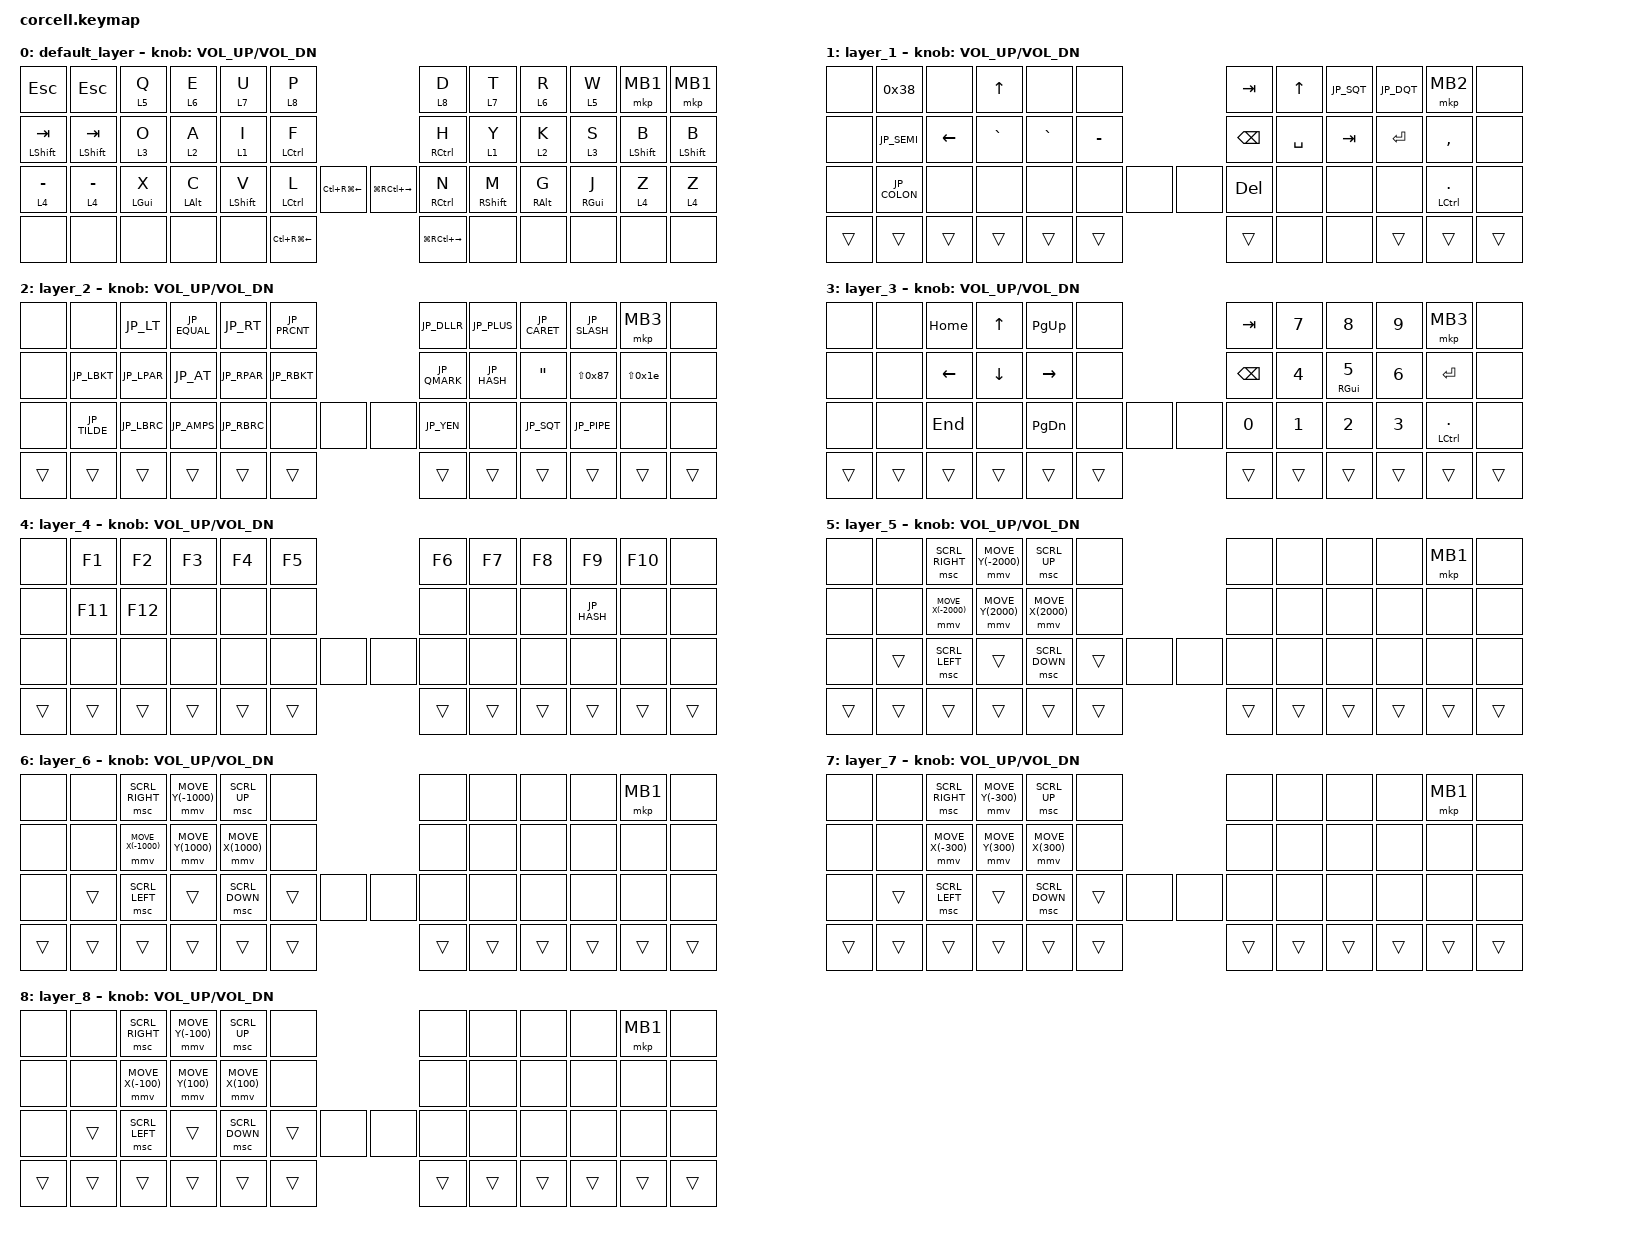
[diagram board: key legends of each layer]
#include "keycode_japanese.h"


#include <dt-bindings/zmk/mouse.h>
#include <behaviors.dtsi>
#include <dt-bindings/zmk/bt.h>
#include <dt-bindings/zmk/keys.h>
#include <dt-bindings/zmk/pointing.h>


#include <input/processors.dtsi>
#include <dt-bindings/zmk/input_transform.h>
#include <zephyr/dt-bindings/input/input-event-codes.h>

#define ZMK_POINTING_DEFAULT_SCRL_VAL 40




&msc {
    acceleration-exponent = <0>;      // 0
    time-to-max-speed-ms = <0>;       // 300
    delay-ms = <0>;                   // 0
};

&mmv {
    time-to-max-speed-ms = <0>;
    acceleration-exponent = <0>;
    trigger-period-ms = <10>;
    delay-ms = <0>;
};

&mt { 
    flavor = "balanced"; 
    tapping-term-ms = <200>;
    quick-tap-ms = <150>; 
};

&lt {
    flavor = "balanced";
    tapping-term-ms = <200>; 
    quick-tap-ms = <150>; 
};


// 00 01 02 03 04 05          06 07 08 09 10 11  
// 12 13 14 15 16 17          18 19 20 21 22 23
// 24 25 26 27 28 29  30 31   32 33 34 35 36 37
// 38 39 40 41 42 43          44 45 46 47 48 49



/ {


    combos {
        compatible = "zmk,combos";

      lang {
            bindings = <&kp GRAVE>;
            key-positions = <2 4>;
            layers = <0>;
            timeout-ms = <200>;
        };

 fopen {
            bindings = <&kp LG(N2)>;
            key-positions = <6 10>;
            layers = <0>;
            timeout-ms = <200>;
        };

       bootloader_R {
            bindings = <&bootloader>;
            key-positions = <6 11 44 49>;
            timeout-ms = <200>;
        };

       bootloader_L {
            bindings = <&bootloader>;
            key-positions = <0 5 38 43>;
            timeout-ms = <200>;
        };

        eq {
            bindings = <&bt BT_CLR_ALL>;
            key-positions = <0 12 24 38>;
            timeout-ms = <50>;
            layers = <0>;
        };

        bt0 {
            bindings = <&bt BT_SEL 0>;
            key-positions = <6 18 32 44>;
            timeout-ms = <50>;
            layers = <0>;
        };

        bt1 {
            bindings = <&bt BT_SEL 1>;
            key-positions = <7 19 33 45>;
            layers = <0>;
        };

        bt2 {
            bindings = <&bt BT_SEL 2>;
            key-positions = <8 20 34 46>;
            layers = <0>;
        };

        mute {
            bindings = <&kp C_MUTE>;
            key-positions = <16 17>;
            layers = <0>;
        };

        vup {
            bindings = <&kp C_VOL_UP>;
            key-positions = <4 5>;
            layers = <0>;
        };

        vdn {
            bindings = <&kp C_VOL_DN>;
            key-positions = <28 29>;
            layers = <0>;
        };

        printscreen {
            bindings = <&kp PSCRN>;
            key-positions = <26 28>;
            layers = <0>;
            timeout-ms = <250>;
        };


        space {
            bindings = <&kp SPACE>;
            key-positions = <13 16>;
            layers = <0>;
            timeout-ms = <250>;
        };


       };
  };




/ {
   keymap {
        compatible = "zmk,keymap";

        default_layer {
            bindings = <
  
&kp ESCAPE      &kp ESCAPE      &lt 5 Q    &lt 6 E    &lt 7 U       &lt 8 P                                                                    &lt 8 D        &lt 7 T       &lt 6 R     &lt 5 W     &mkp MB1          &mkp MB1

&mt LSHIFT TAB  &mt LSHIFT TAB  &lt 3 O    &lt 2 A    &lt 1 I       &mt LCTRL F                                                                &mt RCTRL H    &lt 1 Y       &lt 2 K     &lt 3 S     &mt LEFT_SHIFT B  &mt LEFT_SHIFT B

&lt 4 MINUS      &lt 4 MINUS    &mt LGUI X &mt LALT C &mt LSHIFT V  &mt LCTRL L             &kp LC(RG(LEFT))    &kp LG(RC(RIGHT))              &mt RCTRL N  &mt RSHIFT M  &mt RALT G  &mt RGUI J  &lt 4 Z        &lt 4 Z

&none          &none            &none      &none      &none         &kp LC(RG(LEFT))                                                           &kp LG(RC(RIGHT))  &none   &none       &none &none &none
>;
            sensor-bindings = <&inc_dec_kp C_VOL_UP C_VOL_DN>;
        };

        layer_1 {
            bindings = <

&none  &kp 0x38      &none      &kp UP     &none      &none                                                                                     &kp TAB        &kp UP      &kp JP_SQT  &kp JP_DQT  &mkp MB2        &none
&none  &kp JP_SEMI   &kp LEFT   &kp GRAVE  &kp GRAVE  &kp MINUS                                                                                 &kp BACKSPACE  &kp SPACE   &kp TAB     &kp ENTER   &kp COMMA       &none
&none  &kp JP_COLON  &none      &none      &none      &none                                   &none      &none                                  &kp DELETE     &none      &none       &none       &mt LCTRL PERIOD &none
&trans &trans        &trans     &trans     &trans     &trans                                                                                    &trans        &none        &none      &trans        &trans         &trans
            >;
            sensor-bindings = <&inc_dec_kp C_VOL_UP C_VOL_DN>;
        };

        layer_2 {
            bindings = <

&none   &none        &kp JP_LT      &kp JP_EQUAL   &kp JP_RT    &kp JP_PRCNT                                                                           &kp JP_DLLR   &kp JP_PLUS  &kp JP_CARET      &kp JP_SLASH  &mkp MB3     &none
&none   &kp JP_LBKT  &kp JP_LPAR    &kp JP_AT      &kp JP_RPAR  &kp JP_RBKT                                                                            &kp JP_QMARK  &kp JP_HASH  &kp DOUBLE_QUOTES &kp LS(0x87)  &kp LS(0x1e) &none
&none   &kp JP_TILDE &kp JP_LBRC    &kp JP_AMPS    &kp JP_RBRC  &none                        &none       &none                                         &kp JP_YEN    &none        &kp JP_SQT        &kp JP_PIPE   &none        &none
&trans  &trans       &trans         &trans         &trans      &trans                                                                                  &trans        &trans       &trans            &trans        &trans       &trans
            >;
            sensor-bindings = <&inc_dec_kp C_VOL_UP C_VOL_DN>;
        };

        layer_3 {
            bindings = <

&none    &none        &kp HOME   &kp UP     &kp PAGE_UP      &none                                                                                   &kp TAB        &kp N7          &kp N8        &kp N9         &mkp MB3         &none
&none    &none        &kp LEFT   &kp DOWN   &kp RIGHT        &none                                                                                   &kp BACKSPACE  &kp N4          &mt RGUI N5   &kp N6         &kp ENTER        &none
&none    &none        &kp END    &none      &kp PAGE_DOWN    &none                        &none          &none                                       &kp N0         &kp N1          &kp N2        &kp N3         &mt LCTRL PERIOD &none
&trans   &trans       &trans     &trans     &trans           &trans                                                                                  &trans         &trans          &trans        &trans         &trans           &trans
            >;
            sensor-bindings = <&inc_dec_kp C_VOL_UP C_VOL_DN>;
        };

        layer_4 {
            bindings = <

&none &kp F1   &kp F2    &kp F3  &kp F4  &kp F5                                                                                                     &kp F6  &kp F7  &kp F8  &kp F9       &kp F10    &none
&none &kp F11  &kp F12   &none   &none   &none                                                                                                      &none   &none   &none   &kp JP_HASH  &none      &none
&none &none    &none     &none   &none   &none                                           &none          &none                                       &none   &none   &none   &none        &none      &none
&trans &trans  &trans    &trans  &trans  &trans                                                                                                     &trans  &trans  &trans  &trans       &trans     &trans
            >;
            sensor-bindings = <&inc_dec_kp C_VOL_UP C_VOL_DN>;
        };



        layer_5 {
            bindings = <

&none  &none   &msc SCRL_RIGHT    &mmv MOVE_Y(-2000)  &msc SCRL_UP       &none                                                                      &none   &none  &none  &none  &mkp MB1  &none
&none  &none   &mmv MOVE_X(-2000) &mmv MOVE_Y(2000)   &mmv MOVE_X(2000)  &none                                                                      &none   &none  &none  &none  &none     &none
&none  &trans  &msc SCRL_LEFT     &trans              &msc SCRL_DOWN     &trans              &none          &none                                     &none   &none  &none  &none  &none     &none
&trans &trans  &trans             &trans              &trans             &trans                                                                     &trans  &trans &trans &trans &trans    &trans
            >;
            sensor-bindings = <&inc_dec_kp C_VOL_UP C_VOL_DN>;
        };




        layer_6 {
            bindings = <

&none  &none   &msc SCRL_RIGHT    &mmv MOVE_Y(-1000)  &msc SCRL_UP       &none                                                                      &none   &none  &none  &none  &mkp MB1  &none
&none  &none   &mmv MOVE_X(-1000) &mmv MOVE_Y(1000)   &mmv MOVE_X(1000)  &none                                                                      &none   &none  &none  &none  &none     &none
&none  &trans  &msc SCRL_LEFT     &trans              &msc SCRL_DOWN     &trans              &none          &none                                    &none   &none  &none  &none  &none     &none
&trans &trans  &trans             &trans              &trans             &trans                                                                     &trans  &trans &trans &trans &trans    &trans
            >;
            sensor-bindings = <&inc_dec_kp C_VOL_UP C_VOL_DN>;
        };



        layer_7 {
            bindings = <

&none  &none   &msc SCRL_RIGHT    &mmv MOVE_Y(-300)  &msc SCRL_UP       &none                                                                      &none   &none  &none  &none  &mkp MB1  &none
&none  &none   &mmv MOVE_X(-300) &mmv MOVE_Y(300)   &mmv MOVE_X(300)  &none                                                                      &none   &none  &none  &none  &none     &none
&none  &trans  &msc SCRL_LEFT     &trans              &msc SCRL_DOWN     &trans                  &none          &none                               &none   &none  &none  &none  &none     &none
&trans &trans  &trans             &trans              &trans             &trans                                                                     &trans  &trans &trans &trans &trans    &trans
            >;
            sensor-bindings = <&inc_dec_kp C_VOL_UP C_VOL_DN>;
        };


        layer_8 {
            bindings = <

&none  &none   &msc SCRL_RIGHT    &mmv MOVE_Y(-100)  &msc SCRL_UP       &none                                                                      &none   &none  &none  &none  &mkp MB1  &none
&none  &none   &mmv MOVE_X(-100) &mmv MOVE_Y(100)   &mmv MOVE_X(100)  &none                                                                      &none   &none  &none  &none  &none     &none
&none  &trans  &msc SCRL_LEFT     &trans              &msc SCRL_DOWN     &trans                 &none          &none                              &none   &none  &none  &none  &none     &none
&trans &trans  &trans             &trans              &trans             &trans                                                                     &trans  &trans &trans &trans &trans    &trans
            >;
            sensor-bindings = <&inc_dec_kp C_VOL_UP C_VOL_DN>;
        };




    };
};
